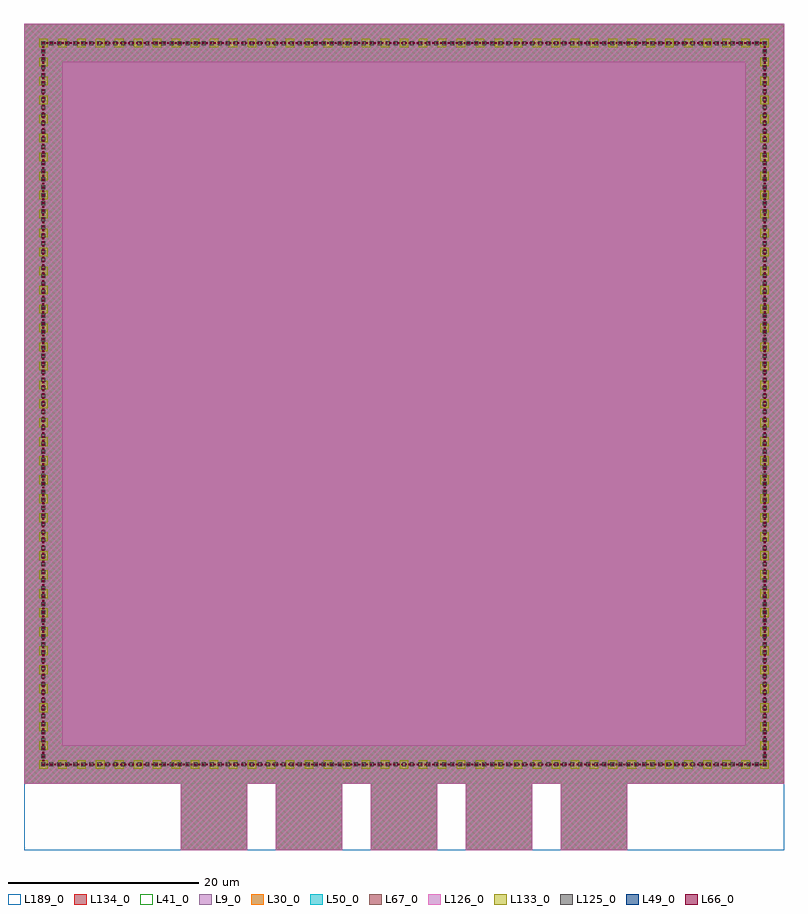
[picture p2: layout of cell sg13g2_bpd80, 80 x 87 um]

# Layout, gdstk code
import gdstk
lib = gdstk.Library(unit=1e-6, precision=1e-09)
def R(c, l, rs):  # rectangles x0, y0, x1, y1
    for r in rs: c.add(gdstk.rectangle(r[:2], r[2:], *l))
def A(c, l, x, y, w, h, nx, ny, dx, dy):  # array of equal rectangles
    R(c, l, [(x+i*dx, y+j*dy, x+i*dx+w, y+j*dy+h) for i in range(nx) for j in range(ny)])
def P(c, l, *ps):  # polygons
    for p in ps: c.add(gdstk.Polygon(p, *l))
L9_0 = (9, 0)
L30_0 = (30, 0)
L41_0 = (41, 0)
L49_0 = (49, 0)
L50_0 = (50, 0)
L66_0 = (66, 0)
L67_0 = (67, 0)
L125_0 = (125, 0)
L126_0 = (126, 0)
L133_0 = (133, 0)
L134_0 = (134, 0)
L189_0 = (189, 0)

bondpad_2 = lib.new_cell('bondpad$2')
R(bondpad_2, L9_0, [(-37.9,-37.9,37.9,37.9)])
P(bondpad_2, L30_0, [(-40,-40),(-40,40),(40,40),(40,-40),(-40,-40),(-35.93,-35.93),(35.93,-35.93),(35.93,35.93),(-35.93,35.93),(-35.93,-35.93)])
R(bondpad_2, L41_0, [(-40,-40,40,40)])
A(bondpad_2, L49_0, -38.06, -38.06, 0.19, 0.19, 12, 2, 0.41, 75.93)
A(bondpad_2, L49_0, -33.135, -38.06, 0.19, 0.19, 12, 2, 0.41, 75.93)
A(bondpad_2, L49_0, -28.21, -38.06, 0.19, 0.19, 11, 2, 0.41, 75.93)
A(bondpad_2, L49_0, -23.695, -38.06, 0.19, 0.19, 12, 2, 0.41, 75.93)
A(bondpad_2, L49_0, -18.77, -38.06, 0.19, 0.19, 11, 2, 0.41, 75.93)
A(bondpad_2, L49_0, -14.255, -38.06, 0.19, 0.19, 12, 2, 0.41, 75.93)
A(bondpad_2, L49_0, -9.33, -38.06, 0.19, 0.19, 11, 2, 0.41, 75.93)
A(bondpad_2, L49_0, -4.815, -38.06, 0.19, 0.19, 12, 2, 0.41, 75.93)
A(bondpad_2, L49_0, 0.11, -38.06, 0.19, 0.19, 12, 2, 0.41, 75.93)
A(bondpad_2, L49_0, 5.035, -38.06, 0.19, 0.19, 11, 2, 0.41, 75.93)
A(bondpad_2, L49_0, 9.55, -38.06, 0.19, 0.19, 12, 2, 0.41, 75.93)
A(bondpad_2, L49_0, 14.475, -38.06, 0.19, 0.19, 11, 2, 0.41, 75.93)
A(bondpad_2, L49_0, 18.99, -38.06, 0.19, 0.19, 12, 2, 0.41, 75.93)
A(bondpad_2, L49_0, 23.915, -38.06, 0.19, 0.19, 11, 2, 0.41, 75.93)
A(bondpad_2, L49_0, 28.43, -38.06, 0.19, 0.19, 12, 2, 0.41, 75.93)
A(bondpad_2, L49_0, 33.355, -38.06, 0.19, 0.19, 11, 2, 0.41, 75.93)
A(bondpad_2, L49_0, -38.06, -37.64, 0.19, 0.19, 1, 16, 0, 0.41)
A(bondpad_2, L49_0, 37.87, -37.64, 0.19, 0.19, 1, 16, 0, 0.41)
A(bondpad_2, L49_0, -38.06, -31.075, 0.19, 0.19, 1, 15, 0, 0.41)
A(bondpad_2, L49_0, 37.87, -31.075, 0.19, 0.19, 1, 15, 0, 0.41)
A(bondpad_2, L49_0, -38.06, -24.92, 0.19, 0.19, 1, 15, 0, 0.41)
A(bondpad_2, L49_0, 37.87, -24.92, 0.19, 0.19, 1, 15, 0, 0.41)
A(bondpad_2, L49_0, -38.06, -18.765, 0.19, 0.19, 1, 15, 0, 0.41)
A(bondpad_2, L49_0, 37.87, -18.765, 0.19, 0.19, 1, 15, 0, 0.41)
A(bondpad_2, L49_0, -38.06, -12.61, 0.19, 0.19, 1, 16, 0, 0.41)
A(bondpad_2, L49_0, 37.87, -12.61, 0.19, 0.19, 1, 16, 0, 0.41)
A(bondpad_2, L49_0, -38.06, -6.045, 0.19, 0.19, 1, 15, 0, 0.41)
A(bondpad_2, L49_0, 37.87, -6.045, 0.19, 0.19, 1, 15, 0, 0.41)
A(bondpad_2, L49_0, -38.06, 0.11, 0.19, 0.19, 1, 15, 0, 0.41)
A(bondpad_2, L49_0, 37.87, 0.11, 0.19, 0.19, 1, 15, 0, 0.41)
A(bondpad_2, L49_0, -38.06, 6.265, 0.19, 0.19, 1, 15, 0, 0.41)
A(bondpad_2, L49_0, 37.87, 6.265, 0.19, 0.19, 1, 15, 0, 0.41)
A(bondpad_2, L49_0, -38.06, 12.42, 0.19, 0.19, 1, 16, 0, 0.41)
A(bondpad_2, L49_0, 37.87, 12.42, 0.19, 0.19, 1, 16, 0, 0.41)
A(bondpad_2, L49_0, -38.06, 18.985, 0.19, 0.19, 1, 15, 0, 0.41)
A(bondpad_2, L49_0, 37.87, 18.985, 0.19, 0.19, 1, 15, 0, 0.41)
A(bondpad_2, L49_0, -38.06, 25.14, 0.19, 0.19, 1, 15, 0, 0.41)
A(bondpad_2, L49_0, 37.87, 25.14, 0.19, 0.19, 1, 15, 0, 0.41)
A(bondpad_2, L49_0, -38.06, 31.295, 0.19, 0.19, 1, 15, 0, 0.41)
A(bondpad_2, L49_0, 37.87, 31.295, 0.19, 0.19, 1, 15, 0, 0.41)
R(bondpad_2, L49_0, [(37.87,-38.06,38.06,-37.87), (-38.06,37.45,-37.87,37.64), (37.87,37.45,38.06,37.64), (37.87,37.87,38.06,38.06)])
P(bondpad_2, L50_0, [(-40,-40),(-40,40),(40,40),(40,-40),(-40,-40),(-35.93,-35.93),(35.93,-35.93),(35.93,35.93),(-35.93,35.93),(-35.93,-35.93)])
A(bondpad_2, L66_0, -38.06, -38.06, 0.19, 0.19, 12, 2, 0.41, 75.93)
A(bondpad_2, L66_0, -33.135, -38.06, 0.19, 0.19, 12, 2, 0.41, 75.93)
A(bondpad_2, L66_0, -28.21, -38.06, 0.19, 0.19, 11, 2, 0.41, 75.93)
A(bondpad_2, L66_0, -23.695, -38.06, 0.19, 0.19, 12, 2, 0.41, 75.93)
A(bondpad_2, L66_0, -18.77, -38.06, 0.19, 0.19, 11, 2, 0.41, 75.93)
A(bondpad_2, L66_0, -14.255, -38.06, 0.19, 0.19, 12, 2, 0.41, 75.93)
A(bondpad_2, L66_0, -9.33, -38.06, 0.19, 0.19, 11, 2, 0.41, 75.93)
A(bondpad_2, L66_0, -4.815, -38.06, 0.19, 0.19, 12, 2, 0.41, 75.93)
A(bondpad_2, L66_0, 0.11, -38.06, 0.19, 0.19, 12, 2, 0.41, 75.93)
A(bondpad_2, L66_0, 5.035, -38.06, 0.19, 0.19, 11, 2, 0.41, 75.93)
A(bondpad_2, L66_0, 9.55, -38.06, 0.19, 0.19, 12, 2, 0.41, 75.93)
A(bondpad_2, L66_0, 14.475, -38.06, 0.19, 0.19, 11, 2, 0.41, 75.93)
A(bondpad_2, L66_0, 18.99, -38.06, 0.19, 0.19, 12, 2, 0.41, 75.93)
A(bondpad_2, L66_0, 23.915, -38.06, 0.19, 0.19, 11, 2, 0.41, 75.93)
A(bondpad_2, L66_0, 28.43, -38.06, 0.19, 0.19, 12, 2, 0.41, 75.93)
A(bondpad_2, L66_0, 33.355, -38.06, 0.19, 0.19, 11, 2, 0.41, 75.93)
A(bondpad_2, L66_0, -38.06, -37.64, 0.19, 0.19, 1, 16, 0, 0.41)
A(bondpad_2, L66_0, 37.87, -37.64, 0.19, 0.19, 1, 16, 0, 0.41)
A(bondpad_2, L66_0, -38.06, -31.075, 0.19, 0.19, 1, 15, 0, 0.41)
A(bondpad_2, L66_0, 37.87, -31.075, 0.19, 0.19, 1, 15, 0, 0.41)
A(bondpad_2, L66_0, -38.06, -24.92, 0.19, 0.19, 1, 15, 0, 0.41)
A(bondpad_2, L66_0, 37.87, -24.92, 0.19, 0.19, 1, 15, 0, 0.41)
A(bondpad_2, L66_0, -38.06, -18.765, 0.19, 0.19, 1, 15, 0, 0.41)
A(bondpad_2, L66_0, 37.87, -18.765, 0.19, 0.19, 1, 15, 0, 0.41)
A(bondpad_2, L66_0, -38.06, -12.61, 0.19, 0.19, 1, 16, 0, 0.41)
A(bondpad_2, L66_0, 37.87, -12.61, 0.19, 0.19, 1, 16, 0, 0.41)
A(bondpad_2, L66_0, -38.06, -6.045, 0.19, 0.19, 1, 15, 0, 0.41)
A(bondpad_2, L66_0, 37.87, -6.045, 0.19, 0.19, 1, 15, 0, 0.41)
A(bondpad_2, L66_0, -38.06, 0.11, 0.19, 0.19, 1, 15, 0, 0.41)
A(bondpad_2, L66_0, 37.87, 0.11, 0.19, 0.19, 1, 15, 0, 0.41)
A(bondpad_2, L66_0, -38.06, 6.265, 0.19, 0.19, 1, 15, 0, 0.41)
A(bondpad_2, L66_0, 37.87, 6.265, 0.19, 0.19, 1, 15, 0, 0.41)
A(bondpad_2, L66_0, -38.06, 12.42, 0.19, 0.19, 1, 16, 0, 0.41)
A(bondpad_2, L66_0, 37.87, 12.42, 0.19, 0.19, 1, 16, 0, 0.41)
A(bondpad_2, L66_0, -38.06, 18.985, 0.19, 0.19, 1, 15, 0, 0.41)
A(bondpad_2, L66_0, 37.87, 18.985, 0.19, 0.19, 1, 15, 0, 0.41)
A(bondpad_2, L66_0, -38.06, 25.14, 0.19, 0.19, 1, 15, 0, 0.41)
A(bondpad_2, L66_0, 37.87, 25.14, 0.19, 0.19, 1, 15, 0, 0.41)
A(bondpad_2, L66_0, -38.06, 31.295, 0.19, 0.19, 1, 15, 0, 0.41)
A(bondpad_2, L66_0, 37.87, 31.295, 0.19, 0.19, 1, 15, 0, 0.41)
R(bondpad_2, L66_0, [(37.87,-38.06,38.06,-37.87), (-38.06,37.45,-37.87,37.64), (37.87,37.45,38.06,37.64), (37.87,37.87,38.06,38.06)])
P(bondpad_2, L67_0, [(-40,-40),(-40,40),(40,40),(40,-40),(-40,-40),(-35.93,-35.93),(35.93,-35.93),(35.93,35.93),(-35.93,35.93),(-35.93,-35.93)])
A(bondpad_2, L125_0, -37.335, -38.175, 0.42, 0.42, 3, 2, 0.845, 75.93)
A(bondpad_2, L125_0, -34.805, -38.175, 0.42, 0.42, 4, 2, 0.845, 75.93)
A(bondpad_2, L125_0, -31.43, -38.175, 0.42, 0.42, 4, 2, 0.845, 75.93)
A(bondpad_2, L125_0, -28.055, -38.175, 0.42, 0.42, 4, 2, 0.845, 75.93)
A(bondpad_2, L125_0, -24.68, -38.175, 0.42, 0.42, 3, 2, 0.845, 75.93)
A(bondpad_2, L125_0, -22.15, -38.175, 0.42, 0.42, 4, 2, 0.845, 75.93)
A(bondpad_2, L125_0, -18.775, -38.175, 0.42, 0.42, 4, 2, 0.845, 75.93)
A(bondpad_2, L125_0, -15.4, -38.175, 0.42, 0.42, 4, 2, 0.845, 75.93)
A(bondpad_2, L125_0, -12.025, -38.175, 0.42, 0.42, 3, 2, 0.845, 75.93)
A(bondpad_2, L125_0, -9.495, -38.175, 0.42, 0.42, 4, 2, 0.845, 75.93)
A(bondpad_2, L125_0, -6.12, -38.175, 0.42, 0.42, 4, 2, 0.845, 75.93)
A(bondpad_2, L125_0, -2.745, -38.175, 0.42, 0.42, 4, 2, 0.845, 75.93)
A(bondpad_2, L125_0, 0.63, -38.175, 0.42, 0.42, 3, 2, 0.845, 75.93)
A(bondpad_2, L125_0, 3.16, -38.175, 0.42, 0.42, 4, 2, 0.845, 75.93)
A(bondpad_2, L125_0, 6.535, -38.175, 0.42, 0.42, 4, 2, 0.845, 75.93)
A(bondpad_2, L125_0, 9.91, -38.175, 0.42, 0.42, 4, 2, 0.845, 75.93)
A(bondpad_2, L125_0, 13.285, -38.175, 0.42, 0.42, 3, 2, 0.845, 75.93)
A(bondpad_2, L125_0, 15.815, -38.175, 0.42, 0.42, 4, 2, 0.845, 75.93)
A(bondpad_2, L125_0, 19.19, -38.175, 0.42, 0.42, 4, 2, 0.845, 75.93)
A(bondpad_2, L125_0, 22.565, -38.175, 0.42, 0.42, 4, 2, 0.845, 75.93)
A(bondpad_2, L125_0, 25.94, -38.175, 0.42, 0.42, 3, 2, 0.845, 75.93)
A(bondpad_2, L125_0, 28.47, -38.175, 0.42, 0.42, 4, 2, 0.845, 75.93)
A(bondpad_2, L125_0, 31.845, -38.175, 0.42, 0.42, 4, 2, 0.845, 75.93)
A(bondpad_2, L125_0, 35.22, -38.175, 0.42, 0.42, 4, 2, 0.845, 75.93)
A(bondpad_2, L125_0, -38.175, -36.485, 0.42, 0.42, 1, 3, 0, 0.845)
A(bondpad_2, L125_0, 37.755, -36.485, 0.42, 0.42, 1, 3, 0, 0.845)
A(bondpad_2, L125_0, -38.175, -33.955, 0.42, 0.42, 1, 3, 0, 0.845)
A(bondpad_2, L125_0, 37.755, -33.955, 0.42, 0.42, 1, 3, 0, 0.845)
A(bondpad_2, L125_0, -38.175, -31.425, 0.42, 0.42, 1, 4, 0, 0.845)
A(bondpad_2, L125_0, 37.755, -31.425, 0.42, 0.42, 1, 4, 0, 0.845)
A(bondpad_2, L125_0, -38.175, -28.05, 0.42, 0.42, 1, 3, 0, 0.845)
A(bondpad_2, L125_0, 37.755, -28.05, 0.42, 0.42, 1, 3, 0, 0.845)
A(bondpad_2, L125_0, -38.175, -25.52, 0.42, 0.42, 1, 3, 0, 0.845)
A(bondpad_2, L125_0, 37.755, -25.52, 0.42, 0.42, 1, 3, 0, 0.845)
A(bondpad_2, L125_0, -38.175, -22.99, 0.42, 0.42, 1, 4, 0, 0.845)
A(bondpad_2, L125_0, 37.755, -22.99, 0.42, 0.42, 1, 4, 0, 0.845)
A(bondpad_2, L125_0, -38.175, -19.615, 0.42, 0.42, 1, 3, 0, 0.845)
A(bondpad_2, L125_0, 37.755, -19.615, 0.42, 0.42, 1, 3, 0, 0.845)
A(bondpad_2, L125_0, -38.175, -17.085, 0.42, 0.42, 1, 4, 0, 0.845)
A(bondpad_2, L125_0, 37.755, -17.085, 0.42, 0.42, 1, 4, 0, 0.845)
A(bondpad_2, L125_0, -38.175, -13.71, 0.42, 0.42, 1, 3, 0, 0.845)
A(bondpad_2, L125_0, 37.755, -13.71, 0.42, 0.42, 1, 3, 0, 0.845)
A(bondpad_2, L125_0, -38.175, -11.18, 0.42, 0.42, 1, 3, 0, 0.845)
A(bondpad_2, L125_0, 37.755, -11.18, 0.42, 0.42, 1, 3, 0, 0.845)
A(bondpad_2, L125_0, -38.175, -8.65, 0.42, 0.42, 1, 4, 0, 0.845)
A(bondpad_2, L125_0, 37.755, -8.65, 0.42, 0.42, 1, 4, 0, 0.845)
A(bondpad_2, L125_0, -38.175, -5.275, 0.42, 0.42, 1, 3, 0, 0.845)
A(bondpad_2, L125_0, 37.755, -5.275, 0.42, 0.42, 1, 3, 0, 0.845)
A(bondpad_2, L125_0, -38.175, -2.745, 0.42, 0.42, 1, 4, 0, 0.845)
A(bondpad_2, L125_0, 37.755, -2.745, 0.42, 0.42, 1, 4, 0, 0.845)
A(bondpad_2, L125_0, -38.175, 0.63, 0.42, 0.42, 1, 3, 0, 0.845)
A(bondpad_2, L125_0, 37.755, 0.63, 0.42, 0.42, 1, 3, 0, 0.845)
A(bondpad_2, L125_0, -38.175, 3.16, 0.42, 0.42, 1, 3, 0, 0.845)
A(bondpad_2, L125_0, 37.755, 3.16, 0.42, 0.42, 1, 3, 0, 0.845)
A(bondpad_2, L125_0, -38.175, 5.69, 0.42, 0.42, 1, 4, 0, 0.845)
A(bondpad_2, L125_0, 37.755, 5.69, 0.42, 0.42, 1, 4, 0, 0.845)
A(bondpad_2, L125_0, -38.175, 9.065, 0.42, 0.42, 1, 3, 0, 0.845)
A(bondpad_2, L125_0, 37.755, 9.065, 0.42, 0.42, 1, 3, 0, 0.845)
A(bondpad_2, L125_0, -38.175, 11.595, 0.42, 0.42, 1, 3, 0, 0.845)
A(bondpad_2, L125_0, 37.755, 11.595, 0.42, 0.42, 1, 3, 0, 0.845)
A(bondpad_2, L125_0, -38.175, 14.125, 0.42, 0.42, 1, 4, 0, 0.845)
A(bondpad_2, L125_0, 37.755, 14.125, 0.42, 0.42, 1, 4, 0, 0.845)
A(bondpad_2, L125_0, -38.175, 17.5, 0.42, 0.42, 1, 3, 0, 0.845)
A(bondpad_2, L125_0, 37.755, 17.5, 0.42, 0.42, 1, 3, 0, 0.845)
A(bondpad_2, L125_0, -38.175, 20.03, 0.42, 0.42, 1, 4, 0, 0.845)
A(bondpad_2, L125_0, 37.755, 20.03, 0.42, 0.42, 1, 4, 0, 0.845)
A(bondpad_2, L125_0, -38.175, 23.405, 0.42, 0.42, 1, 3, 0, 0.845)
A(bondpad_2, L125_0, 37.755, 23.405, 0.42, 0.42, 1, 3, 0, 0.845)
A(bondpad_2, L125_0, -38.175, 25.935, 0.42, 0.42, 1, 3, 0, 0.845)
A(bondpad_2, L125_0, 37.755, 25.935, 0.42, 0.42, 1, 3, 0, 0.845)
A(bondpad_2, L125_0, -38.175, 28.465, 0.42, 0.42, 1, 4, 0, 0.845)
A(bondpad_2, L125_0, 37.755, 28.465, 0.42, 0.42, 1, 4, 0, 0.845)
A(bondpad_2, L125_0, -38.175, 31.84, 0.42, 0.42, 1, 3, 0, 0.845)
A(bondpad_2, L125_0, 37.755, 31.84, 0.42, 0.42, 1, 3, 0, 0.845)
A(bondpad_2, L125_0, -38.175, 34.37, 0.42, 0.42, 1, 4, 0, 0.845)
A(bondpad_2, L125_0, 37.755, 34.37, 0.42, 0.42, 1, 4, 0, 0.845)
R(bondpad_2, L125_0, [(-38.175,-38.175,-37.755,-37.755), (-38.175,-37.325,-37.755,-36.905), (37.755,-37.325,38.175,-36.905), (-38.175,37.755,-37.755,38.175)])
P(bondpad_2, L126_0, [(-40,-40),(-40,40),(40,40),(40,-40),(-40,-40),(-35.93,-35.93),(35.93,-35.93),(35.93,35.93),(-35.93,35.93),(-35.93,-35.93)])
A(bondpad_2, L133_0, -32.425, -38.415, 0.9, 0.9, 3, 2, 2, 75.93)
A(bondpad_2, L133_0, -26.43, -38.415, 0.9, 0.9, 3, 2, 2, 75.93)
A(bondpad_2, L133_0, -16.44, -38.415, 0.9, 0.9, 3, 2, 2, 75.93)
A(bondpad_2, L133_0, -10.445, -38.415, 0.9, 0.9, 3, 2, 2, 75.93)
A(bondpad_2, L133_0, -4.45, -38.415, 0.9, 0.9, 3, 2, 2, 75.93)
A(bondpad_2, L133_0, 5.54, -38.415, 0.9, 0.9, 3, 2, 2, 75.93)
A(bondpad_2, L133_0, 11.535, -38.415, 0.9, 0.9, 3, 2, 2, 75.93)
A(bondpad_2, L133_0, 21.525, -38.415, 0.9, 0.9, 3, 2, 2, 75.93)
A(bondpad_2, L133_0, 27.52, -38.415, 0.9, 0.9, 3, 2, 2, 75.93)
A(bondpad_2, L133_0, 33.515, -38.415, 0.9, 0.9, 3, 2, 2, 75.93)
A(bondpad_2, L133_0, -38.415, -34.45, 0.9, 0.9, 1, 18, 0, 2)
A(bondpad_2, L133_0, 37.515, -34.45, 0.9, 0.9, 1, 18, 0, 2)
A(bondpad_2, L133_0, -38.415, 1.545, 0.9, 0.9, 1, 18, 0, 2)
A(bondpad_2, L133_0, 37.515, 1.545, 0.9, 0.9, 1, 18, 0, 2)
R(bondpad_2, L133_0, [(-38.415,-38.415,-37.515,-37.515), (-36.42,-38.415,-35.52,-37.515), (-34.42,-38.415,-33.52,-37.515), (-20.435,-38.415,-19.535,-37.515), (-18.435,-38.415,-17.535,-37.515), (1.545,-38.415,2.445,-37.515), (3.545,-38.415,4.445,-37.515), (17.53,-38.415,18.43,-37.515), (19.53,-38.415,20.43,-37.515), (-38.415,-36.445,-37.515,-35.545), (37.515,-36.445,38.415,-35.545), (-38.415,37.515,-37.515,38.415), (-36.42,37.515,-35.52,38.415), (-34.42,37.515,-33.52,38.415), (-20.435,37.515,-19.535,38.415), (-18.435,37.515,-17.535,38.415), (1.545,37.515,2.445,38.415), (3.545,37.515,4.445,38.415), (17.53,37.515,18.43,38.415), (19.53,37.515,20.43,38.415)])
R(bondpad_2, L134_0, [(-40,-40,40,40)])

sg13g2_bpd80 = lib.new_cell('sg13g2_bpd80')
A(sg13g2_bpd80, L30_0, 16.5, 0, 7, 7, 5, 1, 10, 0)
A(sg13g2_bpd80, L50_0, 16.5, 0, 7, 7, 5, 1, 10, 0)
A(sg13g2_bpd80, L67_0, 16.5, 0, 7, 7, 5, 1, 10, 0)
A(sg13g2_bpd80, L126_0, 16.5, 0, 7, 7, 5, 1, 10, 0)
A(sg13g2_bpd80, L134_0, 16.5, 0, 7, 7, 5, 1, 10, 0)
R(sg13g2_bpd80, L189_0, [(0,0,80,87)])
sg13g2_bpd80.add(gdstk.Reference(bondpad_2, (40,47)))

lib.write_gds('sg13g2_bpd80.gds')
